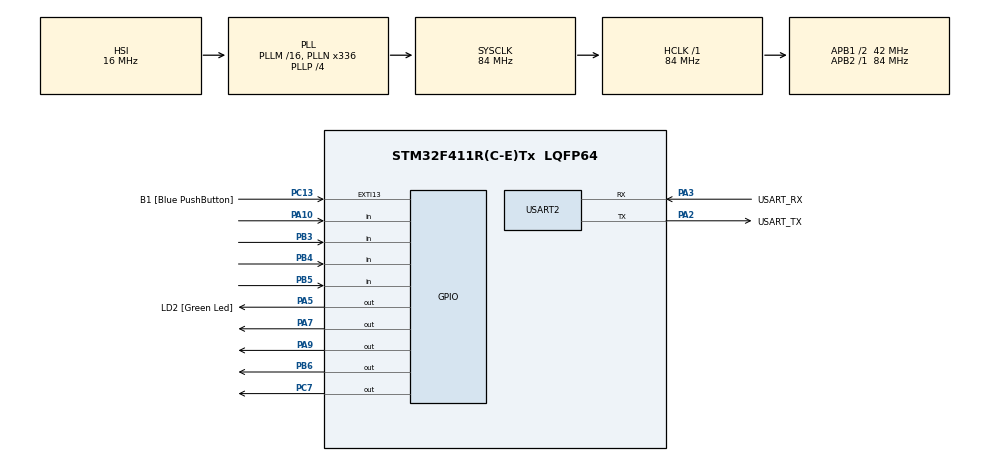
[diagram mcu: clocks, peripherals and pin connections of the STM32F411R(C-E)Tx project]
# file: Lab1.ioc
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Mcu.Family=STM32F4
Mcu.Name=STM32F411R(C-E)Tx
Mcu.Package=LQFP64
NVIC.PriorityGroup=NVIC_PRIORITYGROUP_0
PA10.Signal=GPIO_Input
PA13.GPIO_Label=TMS
PA13.Mode=Serial_Wire
PA13.Signal=SYS_JTMS-SWDIO
PA14.GPIO_Label=TCK
PA14.Mode=Serial_Wire
PA14.Signal=SYS_JTCK-SWCLK
PA2.GPIO_Label=USART_TX
PA2.Mode=Asynchronous
PA2.Signal=USART2_TX
PA3.GPIO_Label=USART_RX
PA3.Mode=Asynchronous
PA3.Signal=USART2_RX
PA5.GPIO_Label=LD2 [Green Led]
PA5.Signal=GPIO_Output
PA7.Signal=GPIO_Output
PA9.Signal=GPIO_Output
PB3.Signal=GPIO_Input
PB4.Signal=GPIO_Input
PB5.Signal=GPIO_Input
PB6.Signal=GPIO_Output
PC13-ANTI_TAMP.GPIO_Label=B1 [Blue PushButton]
PC13-ANTI_TAMP.GPIO_ModeDefaultEXTI=GPIO_MODE_IT_FALLING
PC13-ANTI_TAMP.Signal=GPXTI13
PC14-OSC32_IN.Mode=LSE-External-Oscillator
PC14-OSC32_IN.Signal=RCC_OSC32_IN
PC15-OSC32_OUT.Mode=LSE-External-Oscillator
PC15-OSC32_OUT.Signal=RCC_OSC32_OUT
PC7.Signal=GPIO_Output
PH0\ -\ OSC_IN.Mode=HSE-External-Clock-Source
PH0\ -\ OSC_IN.Signal=RCC_OSC_IN
PH1\ -\ OSC_OUT.Mode=HSE-External-Clock-Source
PH1\ -\ OSC_OUT.Signal=RCC_OSC_OUT
ProjectManager.HeapSize=0x200
ProjectManager.StackSize=0x400
ProjectManager.TargetToolchain=STM32CubeIDE
RCC.48MHZClocksFreq_Value=84000000
RCC.AHBFreq_Value=84000000
RCC.APB1CLKDivider=RCC_HCLK_DIV2
RCC.APB1Freq_Value=42000000
RCC.APB1TimFreq_Value=84000000
RCC.APB2Freq_Value=84000000
RCC.APB2TimFreq_Value=84000000
RCC.CortexFreq_Value=84000000
RCC.FLatency-AdvancedSettings=FLASH_LATENCY_2
RCC.HCLKFreq_Value=84000000
RCC.HSE_VALUE=8000000
RCC.HSI_VALUE=16000000
RCC.PLLN=336
RCC.PLLP=RCC_PLLP_DIV4
RCC.SYSCLKFreq_VALUE=84000000
RCC.SYSCLKSource=RCC_SYSCLKSOURCE_PLLCLK
RCC.VCOOutputFreq_Value=336000000
USART2.VirtualMode=VM_ASYNC
board=NUCLEO-F411RE

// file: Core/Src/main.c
/* USER CODE BEGIN Header */
/**
 ******************************************************************************
 * @file           : main.c
 * @brief          : Main program body
 ******************************************************************************
 * @attention
 *
 * <h2><center>&copy; Copyright (c) 2021 STMicroelectronics.
 * All rights reserved.</center></h2>
 *
 * This software component is licensed by ST under BSD 3-Clause license,
 * the "License"; You may not use this file except in compliance with the
 * License. You may obtain a copy of the License at:
 *                        opensource.org/licenses/BSD-3-Clause
 *
 ******************************************************************************
 */
/* USER CODE END Header */
#include "main.h"

UART_HandleTypeDef huart2;

void SystemClock_Config(void);
static void MX_GPIO_Init(void);
static void MX_USART2_UART_Init(void);

int main(void) {

	/* MCU Configuration--------------------------------------------------------*/

	/* Reset of all peripherals, Initializes the Flash interface and the Systick. */
	HAL_Init();

	/* Configure the system clock */
	SystemClock_Config();

	/* Initialize all configured peripherals */
	MX_GPIO_Init();
	MX_USART2_UART_Init();
	/* USER CODE BEGIN 2 */
	GPIO_PinState SwitchState[2]; // now,last
	GPIO_PinState SwitchState1[2];
	GPIO_PinState SwitchState2[2];
	uint16_t LED1_HalfPeriod = 1000; // 1Hz
	uint32_t TimeStamp = 0;
	uint32_t ButtonTimeStamp = 0;
	uint32_t ButtonTimeStamp1 = 0;
	uint32_t ButtonTimeStamp2 = 0;
	uint8_t state3 = 0;
	uint32_t TimeDelay = 0;
	uint8_t a = 0;
	uint8_t q=0;
	/* USER CODE END 2 */

	/* Infinite loop */
	while (1) {

		/* USER CODE BEGIN 3 */
		if (HAL_GetTick() - ButtonTimeStamp >= 100) {  // swith press is Low
			SwitchState[0] = HAL_GPIO_ReadPin(GPIOA, GPIO_PIN_10);
			if (SwitchState[1] == GPIO_PIN_SET
					&& SwitchState[0] == GPIO_PIN_RESET) {
				// Change Half period of LED1
				if (LED1_HalfPeriod == 1000) {
					LED1_HalfPeriod = 500;
				} else if (LED1_HalfPeriod == 500) {
					LED1_HalfPeriod = 250;
				} else if (LED1_HalfPeriod == 250) {
					LED1_HalfPeriod = 166;
				} else if (LED1_HalfPeriod == 166) {
					LED1_HalfPeriod = 1000;
				}
				//
			}
			SwitchState[1] = SwitchState[0];
		}
		// Run LED
		if (HAL_GetTick() - TimeStamp >= LED1_HalfPeriod) {
			TimeStamp = HAL_GetTick();
			// Toggle LED1
			if (HAL_GPIO_ReadPin(GPIOA, GPIO_PIN_9) == GPIO_PIN_SET) {
				HAL_GPIO_WritePin(GPIOA, GPIO_PIN_9, GPIO_PIN_RESET);
			} else {
				HAL_GPIO_WritePin(GPIOA, GPIO_PIN_9, GPIO_PIN_SET);
			}
		}
		if (HAL_GetTick() - ButtonTimeStamp1 >= 100) {
			ButtonTimeStamp1 = HAL_GetTick();
			SwitchState1[0] = HAL_GPIO_ReadPin(GPIOB, GPIO_PIN_3);
			if (SwitchState1[1] == GPIO_PIN_SET
					&& SwitchState1[0] == GPIO_PIN_RESET) {

				if (HAL_GPIO_ReadPin(GPIOC, GPIO_PIN_7) == GPIO_PIN_SET) {
					HAL_GPIO_WritePin(GPIOC, GPIO_PIN_7, GPIO_PIN_RESET);
				} else {
					HAL_GPIO_WritePin(GPIOC, GPIO_PIN_7, GPIO_PIN_SET);
				}

			}
			SwitchState1[1] = SwitchState1[0];
		}

		if (HAL_GetTick() - ButtonTimeStamp2>= 10) {
			ButtonTimeStamp2 = HAL_GetTick();
			SwitchState2[0] = HAL_GPIO_ReadPin(GPIOB, GPIO_PIN_5);
			if (SwitchState2[1] == GPIO_PIN_SET
					&& SwitchState2[0] == GPIO_PIN_RESET) {
				state3 += 1;
			}
		}
			q=(state3)%2;

			switch (q) {
			case (0):
				switch (a) {
				case (0):
					if (HAL_GetTick() - TimeDelay >= 1500) {
						TimeDelay = HAL_GetTick();
						a = 1;
					} else {
						HAL_GPIO_WritePin(GPIOB, GPIO_PIN_6, GPIO_PIN_RESET);}
					break;
					case (1):

						if (HAL_GetTick() - TimeDelay >= 500) {
							TimeDelay = HAL_GetTick();
							a = 0;
						} else {
							HAL_GPIO_WritePin(GPIOB, GPIO_PIN_6,GPIO_PIN_SET);
						}
					break;

				}
			break;

			case (1):
				switch (a) {
				case (0):
					if (HAL_GetTick() - TimeDelay >= 1500) {
						TimeDelay = HAL_GetTick();
						a = 1;
					} else {
						HAL_GPIO_WritePin(GPIOB, GPIO_PIN_6, GPIO_PIN_SET);
					}
				break;
					case (1):

						if (HAL_GetTick() - TimeDelay >= 500) {
							TimeDelay = HAL_GetTick();
							a = 0;
						} else {
							HAL_GPIO_WritePin(GPIOB, GPIO_PIN_6,GPIO_PIN_RESET);
						}
						break;
					}

				break;
				}

SwitchState2[1] = SwitchState2[0];
		}

	/* USER CODE END 3 */
}

void SystemClock_Config(void) {
	RCC_OscInitTypeDef RCC_OscInitStruct = { 0 };
	RCC_ClkInitTypeDef RCC_ClkInitStruct = { 0 };

	/** Configure the main internal regulator output voltage
	 */
	__HAL_RCC_PWR_CLK_ENABLE();
	__HAL_PWR_VOLTAGESCALING_CONFIG(PWR_REGULATOR_VOLTAGE_SCALE1);
	/** Initializes the RCC Oscillators according to the specified parameters
	 * in the RCC_OscInitTypeDef structure.
	 */
	RCC_OscInitStruct.OscillatorType = RCC_OSCILLATORTYPE_HSI;
	RCC_OscInitStruct.HSIState = RCC_HSI_ON;
	RCC_OscInitStruct.HSICalibrationValue = RCC_HSICALIBRATION_DEFAULT;
	RCC_OscInitStruct.PLL.PLLState = RCC_PLL_ON;
	RCC_OscInitStruct.PLL.PLLSource = RCC_PLLSOURCE_HSI;
	RCC_OscInitStruct.PLL.PLLM = 16;
	RCC_OscInitStruct.PLL.PLLN = 336;
	RCC_OscInitStruct.PLL.PLLP = RCC_PLLP_DIV4;
	RCC_OscInitStruct.PLL.PLLQ = 4;
	if (HAL_RCC_OscConfig(&RCC_OscInitStruct) != HAL_OK) {
		Error_Handler();
	}
	/** Initializes the CPU, AHB and APB buses clocks
	 */
	RCC_ClkInitStruct.ClockType = RCC_CLOCKTYPE_HCLK | RCC_CLOCKTYPE_SYSCLK
			| RCC_CLOCKTYPE_PCLK1 | RCC_CLOCKTYPE_PCLK2;
	RCC_ClkInitStruct.SYSCLKSource = RCC_SYSCLKSOURCE_PLLCLK;
	RCC_ClkInitStruct.AHBCLKDivider = RCC_SYSCLK_DIV1;
	RCC_ClkInitStruct.APB1CLKDivider = RCC_HCLK_DIV2;
	RCC_ClkInitStruct.APB2CLKDivider = RCC_HCLK_DIV1;

	if (HAL_RCC_ClockConfig(&RCC_ClkInitStruct, FLASH_LATENCY_2) != HAL_OK) {
		Error_Handler();
	}
}

static void MX_USART2_UART_Init(void) {

	huart2.Instance = USART2;
	huart2.Init.BaudRate = 115200;
	huart2.Init.WordLength = UART_WORDLENGTH_8B;
	huart2.Init.StopBits = UART_STOPBITS_1;
	huart2.Init.Parity = UART_PARITY_NONE;
	huart2.Init.Mode = UART_MODE_TX_RX;
	huart2.Init.HwFlowCtl = UART_HWCONTROL_NONE;
	huart2.Init.OverSampling = UART_OVERSAMPLING_16;
	if (HAL_UART_Init(&huart2) != HAL_OK) {
		Error_Handler();
	}

}

static void MX_GPIO_Init(void) {
	GPIO_InitTypeDef GPIO_InitStruct = { 0 };

	/* GPIO Ports Clock Enable */
	__HAL_RCC_GPIOC_CLK_ENABLE();
	__HAL_RCC_GPIOH_CLK_ENABLE();
	__HAL_RCC_GPIOA_CLK_ENABLE();
	__HAL_RCC_GPIOB_CLK_ENABLE();

	/*Configure GPIO pin Output Level */
	HAL_GPIO_WritePin(GPIOA, LD2_Pin | GPIO_PIN_7 | GPIO_PIN_9, GPIO_PIN_RESET);

	/*Configure GPIO pin Output Level */
	HAL_GPIO_WritePin(GPIOC, GPIO_PIN_7, GPIO_PIN_RESET);

	/*Configure GPIO pin Output Level */
	HAL_GPIO_WritePin(GPIOB, GPIO_PIN_6, GPIO_PIN_RESET);

	/*Configure GPIO pin : B1_Pin */
	GPIO_InitStruct.Pin = B1_Pin;
	GPIO_InitStruct.Mode = GPIO_MODE_IT_FALLING;
	GPIO_InitStruct.Pull = GPIO_NOPULL;
	HAL_GPIO_Init(B1_GPIO_Port, &GPIO_InitStruct);

	/*Configure GPIO pins : LD2_Pin PA7 PA9 */
	GPIO_InitStruct.Pin = LD2_Pin | GPIO_PIN_7 | GPIO_PIN_9;
	GPIO_InitStruct.Mode = GPIO_MODE_OUTPUT_PP;
	GPIO_InitStruct.Pull = GPIO_NOPULL;
	GPIO_InitStruct.Speed = GPIO_SPEED_FREQ_LOW;
	HAL_GPIO_Init(GPIOA, &GPIO_InitStruct);

	/*Configure GPIO pin : PC7 */
	GPIO_InitStruct.Pin = GPIO_PIN_7;
	GPIO_InitStruct.Mode = GPIO_MODE_OUTPUT_PP;
	GPIO_InitStruct.Pull = GPIO_NOPULL;
	GPIO_InitStruct.Speed = GPIO_SPEED_FREQ_LOW;
	HAL_GPIO_Init(GPIOC, &GPIO_InitStruct);

	/*Configure GPIO pin : PA10 */
	GPIO_InitStruct.Pin = GPIO_PIN_10;
	GPIO_InitStruct.Mode = GPIO_MODE_INPUT;
	GPIO_InitStruct.Pull = GPIO_NOPULL;
	HAL_GPIO_Init(GPIOA, &GPIO_InitStruct);

	/*Configure GPIO pins : PB3 PB4 PB5 */
	GPIO_InitStruct.Pin = GPIO_PIN_3 | GPIO_PIN_4 | GPIO_PIN_5;
	GPIO_InitStruct.Mode = GPIO_MODE_INPUT;
	GPIO_InitStruct.Pull = GPIO_NOPULL;
	HAL_GPIO_Init(GPIOB, &GPIO_InitStruct);

	/*Configure GPIO pin : PB6 */
	GPIO_InitStruct.Pin = GPIO_PIN_6;
	GPIO_InitStruct.Mode = GPIO_MODE_OUTPUT_PP;
	GPIO_InitStruct.Pull = GPIO_NOPULL;
	GPIO_InitStruct.Speed = GPIO_SPEED_FREQ_LOW;
	HAL_GPIO_Init(GPIOB, &GPIO_InitStruct);

}

void Error_Handler(void) {
	__disable_irq();
	while (1) {
	}
}

/************************ (C) COPYRIGHT STMicroelectronics *****END OF FILE****/
